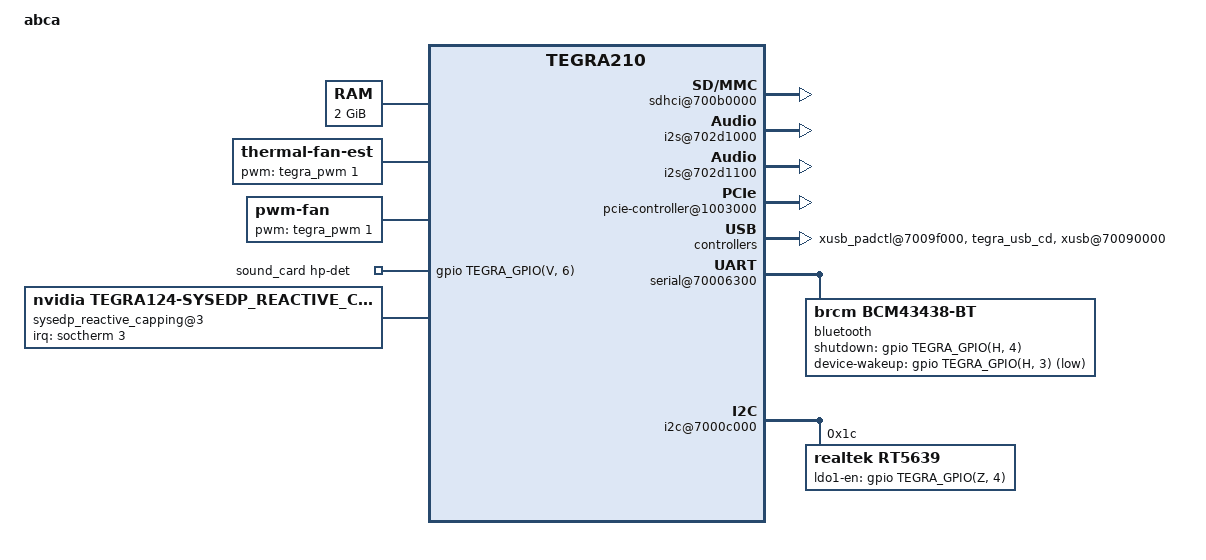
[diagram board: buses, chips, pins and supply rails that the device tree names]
/*
 * arch/arm64/boot/dts/tegra210-abca-common.dtsi
 *
 * Copyright (c) 2014-2017, NVIDIA CORPORATION.  All rights reserved.
 *
 * This program is free software; you can redistribute it and/or modify
 * it under the terms of the GNU General Public License as published by
 * the Free Software Foundation; version 2 of the License.
 *
 * This program is distributed in the hope that it will be useful, but WITHOUT
 * ANY WARRANTY; without even the implied warranty of MERCHANTABILITY or
 * FITNESS FOR A PARTICULAR PURPOSE.  See the GNU General Public License for
 * more details.
 *
 */

/dts-v1/;

/memreserve/ 0x80000000 0x00020000;

#include <t210-common-platforms/tegra210-common.dtsi>
#include <t210-common-platforms/tegra210-cpufreq.dtsi>
#include "abca-platforms/tegra210-abca-gpio.dtsi"
#include "abca-platforms/tegra210-abca-pinmux.dtsi"
#include "abca-platforms/tegra210-abca-prods.dtsi"
#include "abca-platforms/tegra210-abca-comms.dtsi"
#include <tegra210-soc/tegra210-sdhci.dtsi>
#include "abca-platforms/tegra210-abca-keys.dtsi"
#include <tegra210-soc/tegra210-edp.dtsi>
#include <t210-common-platforms/tegra210-sysedp.dtsi>
#include <tegra210-soc/tegra210-audio.dtsi>
#include <t210-common-platforms/tegra210-thermal-nct72-p2530.dtsi>
#include <tegra210-soc/tegra210-thermal-Tboard-Tdiode.dtsi>
#include <dt-bindings/clock/tegra210-car.h>
#include <dt-bindings/reset/tegra210-car.h>
#include <dt-bindings/soc/tegra-pmc.h>
#include <dt-bindings/thermal/tegra124-soctherm.h>
#include <dt-bindings/thermal/tegra210-trips.h>

/ {
	model = "abca";
	compatible = "nvidia,abca", "nvidia,tegra210";
	nvidia,dtsfilename = __FILE__;

	nvidia,boardids = "2595:0000:A0";
	nvidia,proc-boardid = "2595:0000:A0";
	nvidia,pmu-boardid = "2595:0000:A0";
	#address-cells = <2>;
	#size-cells = <2>;

	serial-number = "1234";

	chosen {
		bootargs = "root=/dev/mmcblk0p1 rw rootwait fbcon=rotate:3 printk.synchronous=1 loglevel=8 console=fb0 console=ttyGS0";
		nvidia,bluetooth-mac = "11:22:33:44:55:66";
	};

	firmware {
		android {
			compatible = "android,firmware";
			hardware = "abca";
		};
	};

	dvfs {
		compatible = "nvidia,tegra210-dvfs";
	};

	rtc {
		nvidia,pmc-wakeup = <&tegra_pmc PMC_WAKE_TYPE_EVENT 16
			PMC_TRIGGER_TYPE_HIGH>;
	};

	tegra_fiq_debugger {
		status = "disabled";
	};

	pmc@7000e400 {
		nvidia,invert-interrupt;
		nvidia,suspend-mode = <0>;
		nvidia,cpu-pwr-good-time = <0>;
		nvidia,cpu-pwr-off-time = <0>;
		nvidia,core-pwr-good-time = <4587 3876>;
		nvidia,core-pwr-off-time = <39065>;
		nvidia,core-pwr-req-active-high;
		nvidia,sys-clock-req-active-high;
		#nvidia,wake-cells = <3>;
		/delete-property/ nvidia,secure-pmc;
		iopad-defaults {
			audio-hv-pads {
				pins = "audio-hv";
				nvidia,power-source-voltage = <TEGRA_IO_PAD_VOLTAGE_1800000UV>;
			};

			spi-hv-pads {
				pins = "spi-hv";
				nvidia,power-source-voltage = <TEGRA_IO_PAD_VOLTAGE_1800000UV>;
			};

			gpio-pads {
				pins = "gpio";
				nvidia,power-source-voltage = <TEGRA_IO_PAD_VOLTAGE_1800000UV>;
			};

			sdmmc1-pads {
				pins = "sdmmc1";
				nvidia,enable-voltage-switching;
			};

			sdmmc3-pads {
				pins = "sdmmc3";
				nvidia,power-source-voltage = <TEGRA_IO_PAD_VOLTAGE_1800000UV>;
				nvidia,enable-voltage-switching;
				low-power-enable;
			};
		};
	};

	memory@80000000 {
		device_type = "memory";
		reg = < 0x0 0x80000000 0x0 0x80000000 >;
	};

	sdhci@700b0600 { /* SDMMC4 for EMMC */
		uhs-mask = <0x0>;	/* hs400 */
		tap-delay = <0>;
		max-clk-limit = <200000000>;
		pll_source = "pll_p", "pll_c4_out2";
		clocks = <&tegra_car TEGRA210_CLK_SDMMC4>,
			   <&tegra_car TEGRA210_CLK_PLL_P>,
			   <&tegra_car TEGRA210_CLK_PLL_C4_OUT2>;
		clock-names = "sdmmc", "pll_p", "pll_c4_out2";
		status = "disabled";
	};

	sdhci@700b0400 { /* SDMMC3 Not Used */
		status = "disabled";
	};

	sdhci@700b0200 { /* SDMMC2 for Gamecard */
		uhs-mask = <0x0>;	/* hs400 */
		tap-delay = <0>;
		trim-delay = <8>;
		nvidia,is-ddr-tap-delay;
		nvidia,ddr-tap-delay = <0>;
		mmc-ocr-mask = <0>;
		dqs-trim-delay = <17>;
		dqs-trim-delay-hs533 = <24>;
		max-clk-limit = <200000000>;
		bus-width = <8>;
		built-in;
		calib-3v3-offsets = <0x0505>;
		calib-1v8-offsets = <0x0505>;
		compad-vref-3v3 = <0x7>;
		compad-vref-1v8 = <0x7>;
		nvidia,en-io-trim-volt;
		nvidia,is-emmc;
		nvidia,enable-cq;
		ignore-pm-notify;
		keep-power-in-suspend;
		non-removable;
		cap-mmc-highspeed;
		cap-sd-highspeed;
		mmc-ddr-1_8v;
		mmc-hs200-1_8v;
		mmc-hs400-1_8v;
		nvidia,enable-strobe-mode;
		pll_source = "pll_p", "pll_c4_out2";
		clocks = <&tegra_car TEGRA210_CLK_SDMMC2>,
			   <&tegra_car TEGRA210_CLK_PLL_P>,
			   <&tegra_car TEGRA210_CLK_PLL_C4_OUT2>;
		clock-names = "sdmmc", "pll_p", "pll_c4_out2";
		status = "disabled";
	};

	sdhci@700b0000 { /* SDMMC1 for uSD card */
		uhs-mask = <0x8>;
		nvidia,update-pinctrl-settings;
		nvidia,sd-device;
		status = "okay";
	};

	aconnect@702c0000 {
		status = "okay";

		adma@702e2000  {
			status = "okay";
		};

		ahub {
			i2s@702d1000 {
				pinctrl-names = "dap_active", "dap_inactive";
				pinctrl-0 = <>;
				pinctrl-1 = <>;
				regulator-supplies = "vdd-1v8-audio-hv", "vdd-1v8-audio-hv-bias";
				vdd-1v8-audio-hv-supply = <&max77620_sd3>;
				vdd-1v8-audio-hv-bias-supply = <&max77620_sd3>;
				status = "okay";
			};
	
			i2s@702d1100 {
				pinctrl-names = "dap_active", "dap_inactive";
				pinctrl-0 = <>;
				pinctrl-1 = <>;
				regulator-supplies = "vdd-1v8-spi-hv", "vdd-1v8-spi-hv-bias";
				vdd-1v8-spi-hv-supply = <&max77620_sd3>;
				vdd-1v8-spi-hv-bias-supply = <&max77620_sd3>;
				fsync-width = <0>;
				status = "okay";
			};
			i2s@702d1100 {
				pinctrl-names = "dap_active", "dap_inactive";
				pinctrl-0 = <>;
				pinctrl-1 = <>;
				regulator-supplies = "vdd-1v8-spi-hv", "vdd-1v8-spi-hv-bias";
				vdd-1v8-spi-hv-supply = <&max77620_sd3>;
				vdd-1v8-spi-hv-bias-supply = <&max77620_sd3>;
				fsync-width = <0>;
			};
		};
		adsp_audio {
			status = "okay";
			compr-ops = <1>;
			num-plugin = <5>;
			plugin-info-1 {
				plugin-name = "mp3-dec1";
				firmware-name = "nvmp3dec.elf";
				widget-name = "MP3-DEC1";
			};
			plugin-info-2 {
				plugin-name = "spkprot";
				firmware-name = "nvspkprot.elf";
				widget-name = "SPKPROT-SW";
			};
			plugin-info-3 {
				plugin-name = "src";
				firmware-name = "nvsrc.elf";
				widget-name = "SRC";
			};
			plugin-info-4 {
				plugin-name = "aac-dec1";
				firmware-name = "nvaacdec.elf";
				widget-name = "AAC-DEC1";
			};
			plugin-info-5 {
				plugin-name = "aec";
				firmware-name = "libnvaecfx.elf";
				widget-name = "AEC";
				param-type = <2>; /* SNDRV_CTL_ELEM_TYPE_INTEGER */
			};
		};

	};

	pcie-controller@1003000 {
		nvidia,wake-gpio = <&gpio TEGRA_GPIO(A, 2) 0>;
		dvdd-pex-pll-supply = <&max77620_ldo1>;
		l0-dvddio-pex-supply = <&max77620_ldo1>;
		l1-dvddio-pex-supply = <&max77620_ldo1>;
		l2-dvddio-pex-supply = <&max77620_ldo1>;
		l3-dvddio-pex-supply = <&max77620_ldo1>;
		l4-dvddio-pex-supply = <&max77620_ldo1>;
		l5-dvddio-pex-supply = <&max77620_ldo1>;
		l6-dvddio-pex-supply = <&max77620_ldo1>;
		hvdd-pex-pll-e-supply = <&max77620_sd3>;
		l0-hvddio-pex-supply = <&max77620_sd3>;
		l1-hvddio-pex-supply = <&max77620_sd3>;
		l2-hvddio-pex-supply = <&max77620_sd3>;
		l3-hvddio-pex-supply = <&max77620_sd3>;
		l4-hvddio-pex-supply = <&max77620_sd3>;
		l5-hvddio-pex-supply = <&max77620_sd3>;
		l6-hvddio-pex-supply = <&max77620_sd3>;
		vddio-pex-ctl-supply = <&max77620_sd3>;
		status = "okay";

		pci@1,0 {
			phys =  <&{/xusb_padctl@7009f000/pads/pcie/lanes/pcie-1}>,
					<&{/xusb_padctl@7009f000/pads/pcie/lanes/pcie-2}>,
					<&{/xusb_padctl@7009f000/pads/pcie/lanes/pcie-3}>,
					<&{/xusb_padctl@7009f000/pads/pcie/lanes/pcie-4}>;
			phy-names = "pcie-0", "pcie-1", "pcie-2", "pcie-3";
			status = "okay";
		};

		pci@2,0 {
			phys = <&{/xusb_padctl@7009f000/pads/pcie/lanes/pcie-0}>;
			phy-names = "pcie-0";
			status = "okay";
		};
	};

	// from f0f
	xusb_padctl@7009f000 {
		status = "okay";

		pads {
			usb2 {
				status = "okay";

				lanes {
					usb2-0 {
						nvidia,function = "xusb";
						status = "okay";
					};
				};
			};

			pcie {
				status = "okay";

				lanes {
					pcie-0 {
						nvidia,function = "pcie-x1";
						status = "okay";
					};
					pcie-1 {
						nvidia,function = "pcie-x4";
						status = "okay";
					};
					pcie-2 {
						nvidia,function = "pcie-x4";
						status = "okay";
					};
					pcie-3 {
						nvidia,function = "pcie-x4";
						status = "okay";
					};
					pcie-4 {
						nvidia,function = "pcie-x4";
						status = "okay";
					};
					pcie-5 {
						nvidia,function = "xusb";
						status = "okay";
					};
					pcie-6 {
						nvidia,function = "xusb";
						status = "okay";
					};
				};
			};
		};

		ports {
			usb2-0 {
				status = "okay";
				mode = "otg";
//				nvidia,usb3-port-fake = <3>;
			};

			usb3-0 {
				nvidia,usb2-companion = <0>;
				status = "okay";
			};
		};
	};

	spi@7000da00 {
		status = "disabled";
		spi@0 {
			compatible = "spidev";
			status = "okay";
			reg = <0>;
			spi-cpol;
			spi-cpha;
			spi-max-frequency = <10000000>;
		};
	};

	spi@7000d400 {
		status = "disabled";
	};

	cpufreq {
		cpu-scaling-data {
			freq-table = <102000
						  204000
						  306000
						  408000
						  510000
						  612000
						  714000
						  816000
						  918000
						  1020000
						  1122000
						  1224000
						  1326000
						  1428000
						  1555000
						  1632000
						  1734000>;
		};
	};
	/* right joycon */
	serial@70006040 {
		compatible = "nvidia,tegra20-uart";
		status = "disabled";
	};
	serial@70006300 {
		dma-names = "tx";
		status = "okay";
		bluetooth {
			compatible = "brcm,bcm43438-bt";
			shutdown-gpios = <&gpio TEGRA_GPIO(H, 4) GPIO_ACTIVE_HIGH>;
			// level correct?
			device-wakeup-gpios = <&gpio TEGRA_GPIO(H, 3) GPIO_ACTIVE_LOW>;
			max-speed = <3000000>;
		};
	};

	/* left joycon */
	serial@70006200 {
		status = "disabled";
	};

	mailbox@70098000 {
		status = "okay";
	};

	tegra_usb_cd: usb_cd {
		status = "okay";
		#extcon-cells = <1>;
		phys = <&{/xusb_padctl@7009f000/pads/usb2/lanes/usb2-0}>;
		phy-names = "otg-phy";
	};

	xusb@70090000 {
		status = "okay";
//		#extcon-cells = <1>;
		phys = <&{/xusb_padctl@7009f000/pads/usb2/lanes/usb2-0}>,
			   <&{/xusb_padctl@7009f000/pads/pcie/lanes/pcie-6}>;
		phy-names = "usb2-0", "usb3-0";
		nvidia,pmc-wakeup =
			<&tegra_pmc
				PMC_WAKE_TYPE_EVENT 41 PMC_TRIGGER_TYPE_HIGH>;
	};

	xudc@700d0000 {
		nvidia,portmap = <0x0108>;
		#extcon-cells = <1>;
		status = "disabled";
		phys =  <&{/xusb_padctl@7009f000/pads/usb2/lanes/usb2-0}>,
				<&{/xusb_padctl@7009f000/pads/pcie/lanes/pcie-6}>;
		phy-names = "usb2", "usb3";
		charger-detector = <&tegra_usb_cd>;
	};

	xotg {
		#extcon-cells = <1>;
		status = "disabled";
	};

	gpu-dvfs-rework {
		status = "okay";
	};

	thermal_fan_est_shared_data: tfesd {
		secret = <37>;
		toffset = <0>;
		polling_period = <1100>;
		ndevs = <1>;
		cdev_type = "pwm-fan";
		tzp_governor_name = "pid_thermal_gov";

		pwms = <&tegra_pwm 1 40000>;
		dev1 {
			dev_data = "Tboard_tegra";
			coeffs = <100 0 0 0 0 0 0 0 0 0 0 0 0 0 0 0 0 0 0 0>;
		};
	};

	thermal-fan-est {
		compatible = "thermal-fan-est";
		name = "thermal-fan-est";

		num_resources = <0>;
		shared_data = <&thermal_fan_est_shared_data>;
		trip_length = <10>;
		active_trip_temps = <0 30000 35000 37000 40000
				43000 45000 50000 54000 60000>;
		active_hysteresis = <0 0 0 0 0
				0 0 0 0 0>;
		pwms = <&tegra_pwm 1 40000>;
	};

	pwm_fan_shared_data: pfsd {
		active_steps = <10>;
		active_rpm = <0 1000 2000 3000 4000 5000 6000 7000 10000 11000>;
		active_rru = <40 2 1 1 1 1 1 1 1 1>;
		active_rrd = <40 2 1 1 1 1 1 1 1 1>;

		state_cap_lookup = <2 2 2 7 7 7 7 7 9 9>;
		step_time = <100>; /* mesecs */
		pwm_period = <40000>;
		pwm_id = <1>;
		state_cap = <7>;
		active_pwm_max = <256>;
		tach_gpio =  <&gpio TEGRA_GPIO(S, 7) GPIO_ACTIVE_LOW>; /* TEGRA_GPIO_PS7 */
		pwm_gpio = <&gpio TEGRA_GPIO(E, 7) GPIO_ACTIVE_LOW>; /* TEGRA_GPIO_PE7 */
		tach_period = <1000>;
		pwms = <&tegra_pwm 1 40000>;
	};

	pwm-fan {
		compatible = "pwm-fan";
		name = "pwm-fan";
		status = "okay";
		pwms = <&tegra_pwm 1 40000>;
		shared_data = <&pwm_fan_shared_data>;
		active_pwm = <0 65 75 85 105 125 150 175 200 225>;
	};

	ptm {
		status = "disabled";
	};

	i2c@7000c000 {
		rt5639: rt5639.0-001c@1c {
			compatible = "realtek,rt5639";
			realtek,ldo1-en-gpios = <&gpio TEGRA_GPIO(Z, 4) GPIO_ACTIVE_HIGH>;
			reg = <0x1c>;
			sel_jd_source = <2>;
		};
	};

	sound_card: sound {
		compatible = "nvidia,tegra-audio-t210ref-mobile-rt565x";
		nvidia,model = "tegra-snd-t210ref-mobile-rt565x";
		nvidia,hp-det-gpios = <&gpio TEGRA_GPIO(V, 6) GPIO_ACTIVE_HIGH>;

		clocks = <&tegra_car TEGRA210_CLK_PLL_P_OUT1>,
						<&tegra_car TEGRA210_CLK_PLL_A>,
						<&tegra_car TEGRA210_CLK_PLL_A_OUT0>,
						<&tegra_car TEGRA210_CLK_D_AUDIO>,
						<&tegra_car TEGRA210_CLK_CLK_M>,
						<&tegra_car TEGRA210_CLK_EXTERN1>;
		clock-names = "pll_p_out1", "pll_a", "pll_a_out0", "ahub",
			"clk_m", "extern1";


		assigned-clocks = <&tegra_car TEGRA210_CLK_PLL_A>,
			<&tegra_car TEGRA210_CLK_PLL_A_OUT0>,
			<&tegra_car TEGRA210_CLK_D_AUDIO>,
			<&tegra_car TEGRA210_CLK_EXTERN1>;
		assigned-clock-rates = <368640000>, <36864000>,
			<36864000>, <12288000>;

		nvidia,num-codec-link = <1>;

		nvidia,audio-routing =
			"x Headphone Jack", 	"x HPOL",
			"x Headphone Jack", 	"x HPOR",
			"x Int Spk", 	"x SPORP",
			"x Int Spk", 	"x SPORN",
			"x Int Spk", 	"x SPOLP",
			"x Int Spk", 	"x SPOLN",
			"x IN1P",		"x Mic Jack",
			"x IN1P",		"x Mic Jack";

		nvidia,xbar = <&tegra_axbar>;

		nvidia,dai-link-1 {
			link-name = "rt565x-playback";
			cpu-dai = <&tegra_i2s1>;
			codec-dai = <&rt5639>;
			cpu-dai-name = "I2S1";
			codec-dai-name = "rt5640-aif1";
			format = "i2s";
			bitclock-slave;
			frame-slave;
			bitclock-noninversion;
			frame-noninversion;
			bit-format = "s16_le";
			bclk_ratio = <0>;
			srate = <48000>;
			num-channel = <2>;
			name-prefix = "x";
		};
	};

	modem {
		status = "disabled";
		/* using XHCI UTMI */
		nvidia,phy-type = <2>;
	};

	wifi-antenna-tuning {
		status = "disabled";
	};

	soctherm@0x700E2000 {
		throttle@oc1 {
			device_type = "throttlectl";
			oc-alarm-id = <1>;
			priority = <50>;
			mode = "brief";
			intr;
			active_low;
			count_threshold = <100>;
			filter = <5100000>;
			throttle_dev = <&{/soctherm@0x700E2000/throttle_dev@cpu_medium}
					&{/soctherm@0x700E2000/throttle_dev@gpu_medium}>;
		};
		throttle@oc3 {
			device_type = "throttlectl";
			oc-alarm-id = <3>;
			priority = <50>;
			mode = "brief";
			intr;
			active_low;
			count_threshold = <15>;
			filter = <5100000>;
			throttle_dev = <&{/soctherm@0x700E2000/throttle_dev@cpu_medium}
					&{/soctherm@0x700E2000/throttle_dev@gpu_medium}>;
		};
		throttle_dev@cpu_medium {
			dividend = <63>;
			divisor = <255>;
			duration = <0>;
			step = <0>;
		};
		throttle_dev@gpu_medium {
			level = "medium_throttling";
		};
	};

	thermal-zones {
		CPU-therm {
			status = "okay";
			thermal-zone-params {
				governor-name = "pid_thermal_gov";
				max_err_temp = <9000>;
				max_err_gain = <1000>;
				gain_p = <1000>;
				gain_d = <0>;
				up_compensation = <20>;
				down_compensation = <20>;
			};
			trips {
				cpu_critical {
					temperature = <102500>;
					hysteresis = <0>;
					type = "critical";
					writable;
				};
				cpu_heavy {
					temperature = <98500>;
					hysteresis = <0>;
					type = "hot";
					writable;
				};
				cpu_throttle {
					temperature = <89000>;
					hysteresis = <0>;
					type = "passive";
					writable;
				};
				core_dvfs_floor_trip0: core_dvfs_floor_trip0 {
					temperature = <15000>;
					hysteresis = <1000>;
					type = "active";
				};

				core_dvfs_cap_trip0: core_dvfs_cap_trip0 {
					temperature = <86000>;
					hysteresis = <1000>;
					type = "active";
				};

			};
			cooling-maps {
				map0 {
					trip = <&{/thermal-zones/CPU-therm/trips/cpu_critical}>;
					cdev-type = "tegra-shutdown";
					cooling-device = <&{/soctherm@0x700E2000/throttle@critical}
						THERMAL_NO_LIMIT THERMAL_NO_LIMIT>;
				};
				map1 {
					trip = <&{/thermal-zones/CPU-therm/trips/cpu_heavy}>;
					cdev-type = "tegra-heavy";
					cooling-device = <&throttle_heavy 1 1>;
				};
				map2 {
					trip = <&{/thermal-zones/CPU-therm/trips/cpu_throttle}>;
					cdev-type = "cpu-balanced";
					cooling-device = <&{/bthrot_cdev/cpu_balanced}
						THERMAL_NO_LIMIT THERMAL_NO_LIMIT>;
				};
				core_dvfs_floor_map0 {
					trip = <&core_dvfs_floor_trip0>;
					cooling-device = <&core_dvfs_floor 1 1>;
				};
				core_dvfs_cap_map0 {
					trip = <&core_dvfs_cap_trip0>;
					cooling-device = <&core_dvfs_cap 1 1>;
				};
			};
		};
		GPU-therm {
			status = "okay";
			thermal-zone-params {
				governor-name = "pid_thermal_gov";
				max_err_temp = <9000>;
				max_err_gain = <1000>;
				gain_p = <1000>;
				gain_d = <0>;
				up_compensation = <20>;
				down_compensation = <20>;
			};
			trips {
				gpu_critical {
					temperature = <103000>;
					hysteresis = <0>;
					type = "critical";
					writable;
				};
				gpu_heavy {
					temperature = <100000>;
					hysteresis = <0>;
					type = "hot";
					writable;
				};
				gpu_throttle {
					temperature = <90500>;
					hysteresis = <0>;
					type = "passive";
					writable;
				};
			};
			cooling-maps {
				map0 {
					trip = <&{/thermal-zones/GPU-therm/trips/gpu_critical}>;
					cdev-type = "tegra-shutdown";
					cooling-device = <&{/soctherm@0x700E2000/throttle@critical}
						THERMAL_NO_LIMIT THERMAL_NO_LIMIT>;
				};
				map1 {
					trip = <&{/thermal-zones/GPU-therm/trips/gpu_heavy}>;
					cdev-type = "tegra-heavy";
					cooling-device = <&throttle_heavy 1 1>;
				};
				map2 {
					trip = <&{/thermal-zones/GPU-therm/trips/gpu_throttle}>;
					cdev-type = "gpu-balanced";
					cooling-device = <&{/bthrot_cdev/gpu_balanced}
						THERMAL_NO_LIMIT THERMAL_NO_LIMIT>;
				};
			};
		};
		LCPU-therm {
			status = "okay";
			thermal-zone-params {
				governor-name = "pid_thermal_gov";
				max_err_temp = <9000>;
				max_err_gain = <1000>;
				gain_p = <1000>;
				gain_d = <0>;
				up_compensation = <20>;
				down_compensation = <20>;
			};
			trips {
				lcpu_critical {
					temperature = <103000>; /* must be same as GPU's critical temp */
					hysteresis = <0>;
					type = "critical";
					writable;
				};
				lcpu_heavy {
					temperature = <101500>;
					hysteresis = <0>;
					type = "hot";
					writable;
				};
				lcpu_throttle {
					temperature = <92000>;
					hysteresis = <0>;
					type = "passive";
					writable;
				};
			};
			cooling-maps {
				map0 {
					trip = <&{/thermal-zones/LCPU-therm/trips/lcpu_critical}>;
					cdev-type = "tegra-shutdown";
					cooling-device = <&{/soctherm@0x700E2000/throttle@critical}
						THERMAL_NO_LIMIT THERMAL_NO_LIMIT>;
				};
				map1 {
					trip = <&{/thermal-zones/LCPU-therm/trips/lcpu_heavy}>;
					cdev-type = "tegra-heavy";
					cooling-device = <&throttle_heavy 1 1>;
				};
				map2 {
					trip = <&{/thermal-zones/LCPU-therm/trips/lcpu_throttle}>;
					cdev-type = "cpu-balanced";
					cooling-device = <&{/bthrot_cdev/cpu_balanced}
						THERMAL_NO_LIMIT THERMAL_NO_LIMIT>;
				};
			};
		};
		PLL-therm {
			status = "okay";
			thermal-zone-params {
				governor-name = "pid_thermal_gov";
				max_err_temp = <9000>;
				max_err_gain = <1000>;
				gain_p = <1000>;
				gain_d = <0>;
				up_compensation = <20>;
				down_compensation = <20>;
			};
		};
		Tboard_tegra {
			status = "okay";
		};
		Tdiode_tegra {
			status = "okay";
		};
		AO-therm {
			status = "okay";
		};
	};

	soctherm@0x700E2000 {
		throttle@oc3 {
			device_type = "throttlectl";
			oc-alarm-id = <3>;
			priority = <50>;
			mode = "brief";
			intr;
			active_low;
			count_threshold = <15>;
			filter = <5100000>;
			throttle_dev = <&{/soctherm@0x700E2000/throttle_dev@cpu_medium}
					&{/soctherm@0x700E2000/throttle_dev@gpu_medium}>;
		};
		throttle_dev@cpu_medium {
			dividend = <63>;
			divisor = <255>;
			duration = <0>;
			step = <0>;
		};
		throttle_dev@gpu_medium {
			level = "medium_throttling";
		};
	};

	sysedp_reactive_capping@3 {
		compatible = "nvidia,tegra124-sysedp_reactive_capping";
		nvidia,max_capping_mw = <15000>;
		nvidia,step_alarm_mw = <1000>;
		nvidia,step_relax_mw = <500>;
		nvidia,relax_ms = <250>;
		interrupt-parent = <&soctherm>;
		interrupts = <3 0x2002>;
		sysedpc {
			nvidia,name = "batmon_oc3";
		};
	};

	sysedp-dynamic-capping {
		compatible = "nvidia,tegra124-sysedp-dynamic-capping";
		nvidia,throttle_depth = <75>;
		nvidia,cap_method = <1>;
	};

	clock@70110000 {
		status = "okay";
		vdd-cpu-supply = <&cpu_max77621_reg>;
		nvidia,align-step-uv = <6250>;
		nvidia,sample-rate = <25000>;
		nvidia,droop-ctrl = <0x00000f00>;
		nvidia,force-mode = <1>;
		nvidia,cf = <6>;
		nvidia,ci = <0>;
		nvidia,cg = <2>;
		nvidia,i2c-fs-rate = <400000>;
	};

	cpus {
		cpu@0 {
			clocks = <&tegra_car TEGRA210_CLK_CCLK_G>,
				 <&tegra_car TEGRA210_CLK_CCLK_LP>,
				 <&tegra_car TEGRA210_CLK_PLL_X>,
				 <&tegra_car TEGRA210_CLK_PLL_P_OUT4>,
				 <&tegra_clk_dfll>;
			clock-names = "cpu_g", "cpu_lp", "pll_x", "pll_p", "dfll";
			clock-latency = <300000>;
		};
	};

	memory-controller@70019000 {
		status = "okay";
	};

	dfll_cap: dfll-cdev-cap {
		compatible = "nvidia,tegra-dfll-cdev-action";
		act-dev = <&tegra_clk_dfll>;
		cdev-type = "DFLL-cap";
		#cooling-cells = <2>; /* min followed by max */
	};

	dfll_floor: dfll-cdev-floor {
		compatible = "nvidia,tegra-dfll-cdev-action";
		act-dev = <&tegra_clk_dfll>;
		cdev-type = "DFLL-floor";
		#cooling-cells = <2>; /* min followed by max */
	};

	thermal-zones {
		CPU-therm {
			trips {
				dfll_floor_trip0: dfll-floor-trip0 {
					temperature = <TEGRA210_DFLL_THERMAL_FLOOR_0>; /* millicelsius */
					hysteresis = <1000>; /* millicelsius */
					type = "active";
				};
				dfll_floor_trip1: dfll-floor-trip1 {
					temperature = <TEGRA210_DFLL_THERMAL_FLOOR_1>; /* millicelsius */
					hysteresis = <1000>; /* millicelsius */
					type = "active";
				};
				dfll_floor_trip2: dfll-floor-trip2 {
					temperature = <TEGRA210_DFLL_THERMAL_FLOOR_2>; /* millicelsius */
					hysteresis = <1000>; /* millicelsius */
					type = "active";
				};
				dfll_floor_trip3: dfll-floor-trip3 {
					temperature = <TEGRA210_DFLL_THERMAL_FLOOR_3>; /* millicelsius */
					hysteresis = <1000>; /* millicelsius */
					type = "active";
				};
				dfll_cap_trip0: dfll-cap-trip0 {
					temperature = <TEGRA210_DFLL_THERMAL_CAP_0>; /* millicelsius */
					hysteresis = <1000>; /* millicelsius */
					type = "active";
				};
				dfll_cap_trip1: dfll-cap-trip1 {
					temperature = <TEGRA210_DFLL_THERMAL_CAP_1>; /* millicelsius */
					hysteresis = <1000>; /* millicelsius */
					type = "active";
				};
			};

			cooling-maps {
				dfll_map0 {
					trip = <&dfll_floor_trip0>;
					cooling-device = <&dfll_floor 1 1>;
				};
				dfll_map1 {
					trip = <&dfll_floor_trip1>;
					cooling-device = <&dfll_floor 2 2>;
				};
				dfll_map2 {
					trip = <&dfll_floor_trip2>;
					cooling-device = <&dfll_floor 3 3>;
				};
				dfll_map3 {
					trip = <&dfll_floor_trip3>;
					cooling-device = <&dfll_floor 4 4>;
				};
				dfll_map5 {
					trip = <&dfll_cap_trip0>;
					cooling-device = <&dfll_cap 1 1>;
				};
				dfll_map6 {
					trip = <&dfll_cap_trip1>;
					cooling-device = <&dfll_cap 2 2>;
				};
			};
		};
	};

	spi@7000da00 {
		/delete-node/ spi-touch19x12@0;
		/delete-node/ spi-touch25x16@0;
		/delete-node/ spi-touch14x8@0;
	};
};
